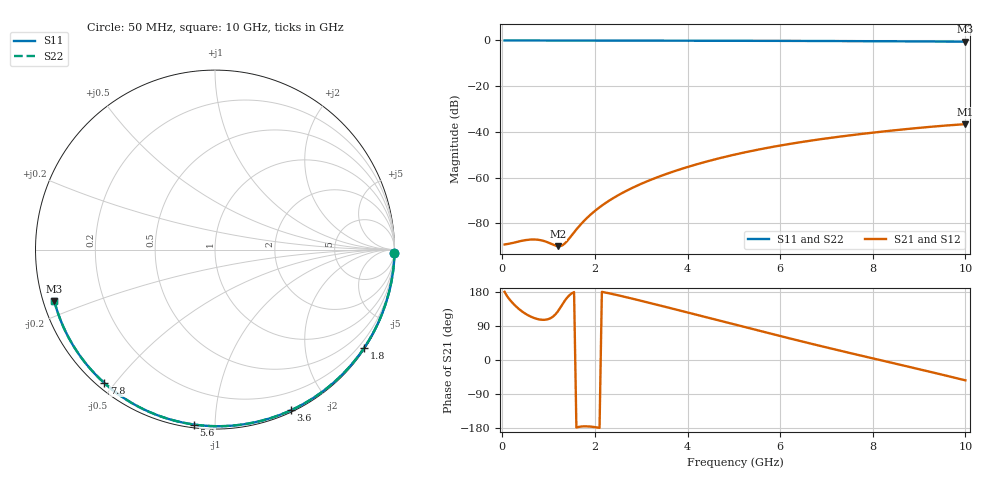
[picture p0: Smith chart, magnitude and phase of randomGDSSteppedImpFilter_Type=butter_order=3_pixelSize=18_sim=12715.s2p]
! freq	dB(S11)	phase(S11)	dB(S12)	phase(S12)
!  dB(S21)	phase(S21)	dB(S22)	phase(S22)
!S-par simulation data
#  GHz  S  DB  R 50
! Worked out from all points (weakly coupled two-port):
!   200 points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, 50 MHz to 10 GHz, reference 50 ohm
!   highest |S21| = -36.61 dB at 10 GHz (marker M1); lowest = -90.0 dB at 1.2 GHz (marker M2)
!   lowest |S11| = -0.5 dB at 10 GHz (marker M3), VSWR 32.39, Z = 1.58 - j7.85 ohm
!   |S11| at or under -10 dB: nowhere
!   |S22| runs from -0.5 to 0.0 dB; largest |S21 - S12| = 0
!   S11 on the Smith chart (normalised r, x): 50 MHz: open; 1.8 GHz: 0.03, -3.35; 3.6 GHz: 0.02, -1.58; 5.6 GHz: 0.02, -0.89; 7.8 GHz: 0.02, -0.47; 10 GHz: 0.03, -0.16
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0.05  -0.00 -0.9  -89.24 179.9  -89.24 179.9  -0.00 -0.9
0.6  -0.01 -11.2  -87.11 115.4  -87.11 115.4  -0.01 -11.2
1.2  -0.03 -22.3  -89.99 128.4  -89.99 128.4  -0.03 -22.3
1.7  -0.04 -31.4  -80.33 -175.6  -80.33 -175.6  -0.04 -31.4
1.75  -0.04 -32.3  -79.24 -175.1  -79.24 -175.1  -0.04 -32.3
1.8  -0.04 -33.2  -78.21 -175.0  -78.21 -175.0  -0.04 -33.2
1.95  -0.05 -35.9  -75.41 -176.3  -75.41 -176.3  -0.05 -35.9
2.1  -0.05 -38.6  -72.98 -179.0  -72.98 -179.0  -0.05 -38.6
2.45  -0.06 -44.8  -68.31 172.2  -68.31 172.2  -0.06 -44.8
2.9  -0.07 -52.7  -63.62 159.1  -63.62 159.1  -0.07 -52.7
3.4  -0.08 -61.3  -59.45 144.0  -59.45 144.0  -0.08 -61.3
3.6  -0.09 -64.7  -57.99 137.8  -57.99 137.8  -0.09 -64.7
4.3  -0.11 -76.2  -53.59 116.2  -53.59 116.2  -0.11 -76.2
5.05  -0.14 -88.3  -49.79 92.8  -49.79 92.8  -0.14 -88.3
5.6  -0.16 -96.8  -47.46 75.6  -47.46 75.6  -0.16 -96.8
6.15  -0.19 -105.2  -45.45 58.7  -45.45 58.7  -0.19 -105.2
6.7  -0.22 -113.5  -43.71 42.1  -43.71 42.1  -0.22 -113.5
7.25  -0.26 -121.6  -42.17 25.9  -42.17 25.9  -0.26 -121.6
7.8  -0.30 -129.7  -40.80 10.0  -40.80 10.0  -0.30 -129.7
8.35  -0.35 -137.7  -39.55 -5.7  -39.55 -5.7  -0.35 -137.7
9.2  -0.44 -150.1  -37.86 -30.0  -37.86 -30.0  -0.44 -150.1
10  -0.54 -162.1  -36.61 -53.7  -36.61 -53.7  -0.54 -162.2
